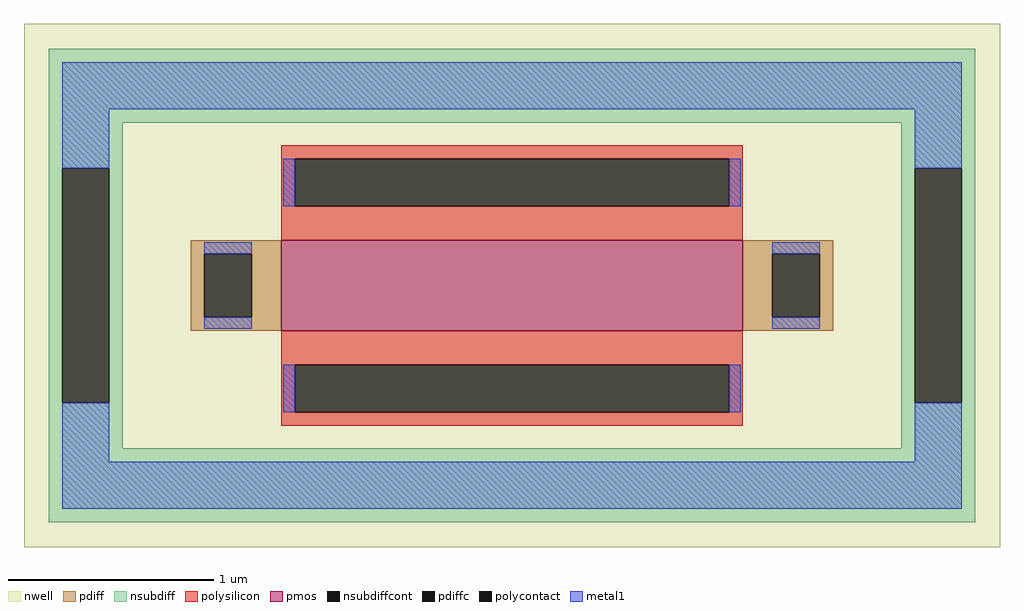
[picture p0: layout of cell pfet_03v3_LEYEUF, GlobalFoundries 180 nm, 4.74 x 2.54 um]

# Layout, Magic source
magic
tech gf180mcuC
magscale 1 10
<< nwell >>
rect -474 -254 474 254
<< pmos >>
rect -224 -44 224 44
<< pdiff >>
rect -312 31 -224 44
rect -312 -31 -299 31
rect -253 -31 -224 31
rect -312 -44 -224 -31
rect 224 31 312 44
rect 224 -31 253 31
rect 299 -31 312 31
rect 224 -44 312 -31
<< pdiffc >>
rect -299 -31 -253 31
rect 253 -31 299 31
<< nsubdiff >>
rect -450 158 450 230
rect -450 114 -378 158
rect -450 -114 -437 114
rect -391 -114 -378 114
rect 378 114 450 158
rect -450 -158 -378 -114
rect 378 -114 391 114
rect 437 -114 450 114
rect 378 -158 450 -114
rect -450 -230 450 -158
<< nsubdiffcont >>
rect -437 -114 -391 114
rect 391 -114 437 114
<< polysilicon >>
rect -224 123 224 136
rect -224 77 -211 123
rect 211 77 224 123
rect -224 44 224 77
rect -224 -77 224 -44
rect -224 -123 -211 -77
rect 211 -123 224 -77
rect -224 -136 224 -123
<< polycontact >>
rect -211 77 211 123
rect -211 -123 211 -77
<< metal1 >>
rect -437 171 437 217
rect -437 114 -391 171
rect -222 77 -211 123
rect 211 77 222 123
rect 391 114 437 171
rect -299 31 -253 42
rect -299 -42 -253 -31
rect 253 31 299 42
rect 253 -42 299 -31
rect -437 -171 -391 -114
rect -222 -123 -211 -77
rect 211 -123 222 -77
rect 391 -171 437 -114
rect -437 -217 437 -171
<< properties >>
string FIXED_BBOX -414 -194 414 194
string gencell pfet_03v3
string library gf180mcu
string parameters w 0.44 l 2.24 m 1 nf 1 diffcov 100 polycov 100 guard 1 glc 1 grc 1 gtc 0 gbc 0 tbcov 100 rlcov 100 topc 1 botc 1 poverlap 0 doverlap 1 lmin 0.28 wmin 0.22 class mosfet full_metal 1 compatible {pfet_03v3 pfet_05v0 pfet_06v0} ad {int((nf+1)/2) * W/nf * 0.18u} as {int((nf+2)/2) * W/nf * 0.18u} pd {2*int((nf+1)/2) * (W/nf + 0.18u)} ps {2*int((nf+2)/2) * (W/nf + 0.18u)} nrd {0.18u / W} nrs {0.18u / W} sa 0 sb 0 sd 0
<< end >>
